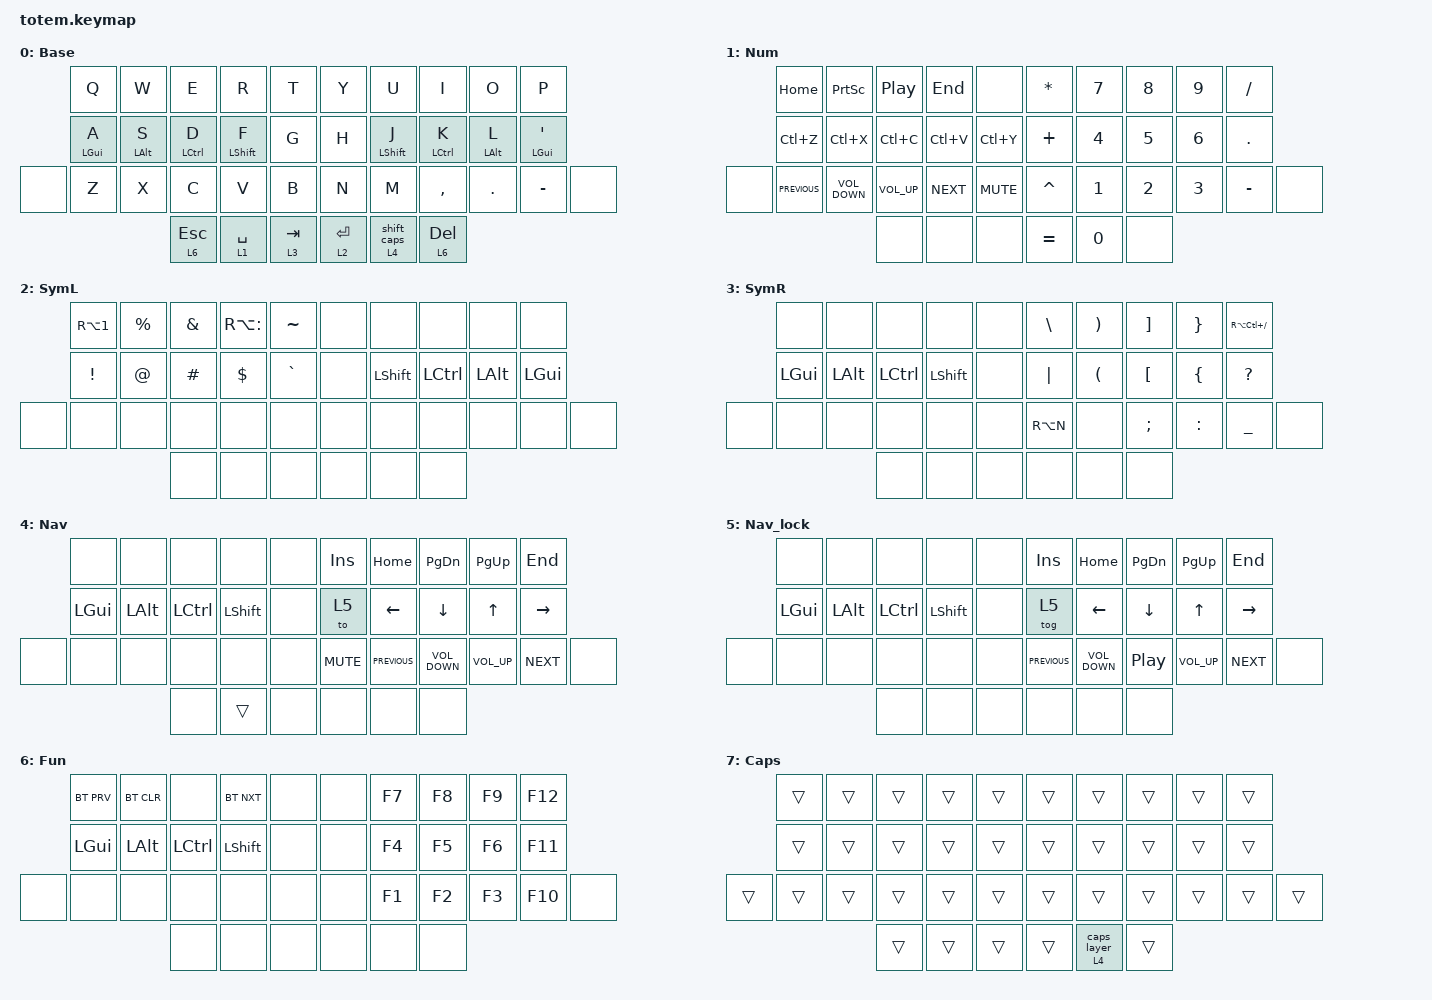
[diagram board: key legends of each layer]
//
//                                                        ▀▀▀▀▀     ▀▀▀▀▀          ▀▀█▀▀
//                                                        ▄▀▀▀▄  ▄  ▄▀▀▀▄  ▄  ▄▀▀▀▄  █  ▄▀▀▀▄
//                                                        █   █  █  █   █  █  █   █  █  █   █
//                                                         ▀▀▀   █   ▀▀▀   █   ▀▀▀   ▀   ▀▀▀
//                                                               █      ▄▄▄█▄▄▄    █   █  
//                                                               ▀      █  █  █     █▄█
//                                                             ▀▀▀▀▀    █  █  █      ▀
//                                                                      ▀  ▀  ▀
//
// ▄▄▄▄▄▄▄▄▄▄▄▄▄▄▄▄▄▄▄▄▄▄▄▄▄▄▄▄▄▄▄▄▄▄▄▄▄▄▄▄▄▄▄▄▄▄▄▄▄▄▄▄▄▄▄▄▄▄▄▄▄▄▄▄▄▄▄▄▄▄▄▄▄▄▄▄▄▄▄▄▄▄▄▄▄▄▄▄▄▄▄▄▄▄▄▄▄▄▄▄▄▄▄▄▄▄▄▄▄▄▄▄▄▄▄▄▄▄▄▄▄▄▄▄▄▄▄▄▄▄▄▄▄▄▄▄▄▄▄▄▄▄▄▄▄▄▄▄▄

#include <behaviors.dtsi>
#include <dt-bindings/zmk/bt.h>
#include <dt-bindings/zmk/keys.h>

#define Base        0
#define Num         1
#define SymL        2
#define SymR        3
#define Nav         4
#define Fun         5
#define SAI         6

&sk { quick-release; };

&lt {
    quick-tap-ms = <100>;
    tapping-term-ms = <170>;
};

&mt {
    hold-while-undecided;
    tapping-term-ms = <170>;
    flavor = "tap-preferred";
    quick-tap-ms = <100>;
};

/ {
    behaviors {
        shift_repeat: shift_repeat {
            compatible = "zmk,behavior-adaptive-key";
            #binding-cells = <0>;
            bindings = <&sk LSHFT>;

            repeat {
                trigger-keys = <A B C D E F G H I J K L M N O P Q R S T U V W X Y Z>;
                bindings = <&key_repeat>;
                max-prior-idle-ms = <350>;
            };

            label = "SHIFT_REPEAT";
        };

        hml: homerow_mods_left {
            compatible = "zmk,behavior-hold-tap";
            label = "HOMEROW_MODS_LEFT";
            #binding-cells = <2>;
            flavor = "balanced";
            tapping-term-ms = <280>;
            bindings = <&kp>, <&kp>;

            quick-tap-ms = <100>;
            require-prior-idle-ms = <135>;
            hold-trigger-on-release;
            hold-trigger-key-positions = <5 15 26 27 16 6 7 17 28 8 18 29 9 19 30 31 35 36 37 32 33 34>;
        };

        hmr: homerow_mods_right {
            compatible = "zmk,behavior-hold-tap";
            label = "HOMEROW_MODS_RIGHT";
            #binding-cells = <2>;
            flavor = "balanced";
            tapping-term-ms = <280>;
            bindings = <&kp>, <&kp>;

            quick-tap-ms = <100>;
            require-prior-idle-ms = <135>;
            hold-trigger-on-release;
            hold-trigger-key-positions = <0 1 2 3 4 10 11 12 13 14 21 22 23 24 25 32 33 20 34 35 36 37>;
        };

        hml_und: homerow_mods_left_undecided {
            compatible = "zmk,behavior-hold-tap";
            label = "HOMEROW_MODS_LEFT_UNDECIDED";
            #binding-cells = <2>;
            flavor = "balanced";
            tapping-term-ms = <280>;
            bindings = <&kp>, <&kp>;

            quick-tap-ms = <100>;
            require-prior-idle-ms = <135>;
            hold-trigger-on-release;
            hold-trigger-key-positions = <5 15 26 27 16 6 7 17 28 8 18 29 9 19 30 31 35 36 37 32 33 34>;
            hold-while-undecided;
        };

        magic_shift: magic_shift {
            compatible = "zmk,behavior-hold-tap";
            label = "MAGIC_SHIFT";
            bindings = <&mo>, <&shift_caps>;

            #binding-cells = <2>;
            flavor = "balanced";
            tapping-term-ms = <200>;
            quick-tap-ms = <175>;
        };

        shift_caps: shift_caps {
            compatible = "zmk,behavior-mod-morph";
            label = "SHIFT_CAPS";
            bindings = <&shift_repeat>, <&caps_layer>;

            #binding-cells = <0>;
            mods = <(MOD_LSFT)>;
        };

        capson_magic: capson_magic {
            compatible = "zmk,behavior-hold-tap";
            label = "CAPSON_MAGIC";
            bindings = <&mo>, <&caps_layer>;

            #binding-cells = <2>;
            flavor = "balanced";
            tapping-term-ms = <200>;
            quick-tap-ms = <175>;
        };
    };

    combos {
        compatible = "zmk,combos";

        combo_back {
            bindings = <&kp BACKSPACE>;
            key-positions = <16 17>;
        };

        combo_del_r {
            bindings = <&kp DELETE>;
            key-positions = <18 19>;
        };

        combo_esc {
            bindings = <&kp ESCAPE>;
            key-positions = <10 11>;
        };

        combo_del_l {
            bindings = <&kp DELETE>;
            key-positions = <12 13>;
        };
    };

    macros {
        space_num: space_num {
            compatible = "zmk,behavior-macro";
            #binding-cells = <0>;
            bindings =
                <&macro_press>,
                <&mo 1 &kp SPACE>,
                <&macro_pause_for_release>,
                <&macro_release>,
                <&mo 1 &kp SPACE>;

            label = "SPACE_NUM";
        };

        caps_layer: caps_layer {
            compatible = "zmk,behavior-macro";
            #binding-cells = <0>;
            bindings =
                <&macro_press>,
                <&tog 7 &kp CAPSLOCK>,
                <&macro_release>,
                <&tog 7 &kp CAPSLOCK>;

            label = "CAPS_LAYER";
        };
    };

    keymap {
        compatible = "zmk,keymap";

        Base {
            label = "Base";
            bindings = <
       &kp Q            &kp W            &kp E                    &kp R                  &kp T        &kp Y         &kp U              &kp I                &kp O            &kp P
       &hml LEFT_GUI A  &hml LEFT_ALT S  &hml_und LEFT_CONTROL D  &hml_und LEFT_SHIFT F  &kp G        &kp H         &hmr LEFT_SHIFT J  &hmr LEFT_CONTROL K  &hmr LEFT_ALT L  &hmr LEFT_GUI SINGLE_QUOTE
&none  &kp Z            &kp X            &kp C                    &kp V                  &kp B        &kp N         &kp M              &kp COMMA            &kp PERIOD       &kp MINUS                   &none
                                         &lt 6 ESCAPE             &lt 1 SPACE            &lt 3 TAB    &lt 2 RETURN  &magic_shift 4 0   &lt 6 DELETE
            >;
        };

        Num {
            bindings = <
       &kp HOME        &kp PRINTSCREEN    &kp C_PLAY_PAUSE  &kp END     &none         &kp ASTERISK  &kp N7  &kp N8  &kp N9  &kp SLASH
       &kp LC(Z)       &kp LC(X)          &kp LC(C)         &kp LC(V)   &kp LC(Y)     &kp PLUS      &kp N4  &kp N5  &kp N6  &kp DOT
&none  &kp C_PREVIOUS  &kp C_VOLUME_DOWN  &kp C_VOLUME_UP   &kp C_NEXT  &kp C_MUTE    &kp CARET     &kp N1  &kp N2  &kp N3  &kp MINUS  &none
                                          &none             &none       &none         &kp EQUAL     &kp N0  &none
            >;

            label = "Num";
        };

        SymL {
            bindings = <
       &kp RA(NUMBER_1)  &kp PERCENT  &kp AMPERSAND  &kp RA(COLON)  &kp TILDE    &none  &none      &none      &none         &none
       &kp EXCLAMATION   &kp AT       &kp HASH       &kp DOLLAR     &kp GRAVE    &none  &kp LSHFT  &kp LCTRL  &kp LEFT_ALT  &kp LGUI
&none  &none             &none        &none          &none          &none        &none  &none      &none      &none         &none     &none
                                      &none          &none          &none        &none  &none      &none
            >;

            label = "SymL";
        };

        SymR {
            bindings = <
       &none     &none         &none      &none      &none    &kp BACKSLASH  &kp RIGHT_PARENTHESIS  &kp RIGHT_BRACKET  &kp RIGHT_BRACE  &kp RA(LC(SLASH))
       &kp LGUI  &kp LEFT_ALT  &kp LCTRL  &kp LSHFT  &none    &kp PIPE       &kp LEFT_PARENTHESIS   &kp LEFT_BRACKET   &kp LEFT_BRACE   &kp QUESTION
&none  &none     &none         &none      &none      &none    &kp RA(N)      &none                  &kp SEMICOLON      &kp COLON        &kp UNDER          &none
                               &none      &none      &none    &none          &none                  &none
            >;

            label = "SymR";
        };

        Nav {
            bindings = <
       &none     &none     &none      &none      &none    &kp INSERT  &kp HOME        &kp PAGE_DOWN      &kp PAGE_UP      &kp END
       &kp LGUI  &kp LALT  &kp LCTRL  &kp LSHFT  &none    &to 5       &kp LEFT_ARROW  &kp DOWN           &kp UP_ARROW     &kp RIGHT_ARROW
&none  &none     &none     &none      &none      &none    &kp C_MUTE  &kp C_PREVIOUS  &kp C_VOLUME_DOWN  &kp C_VOLUME_UP  &kp C_NEXT       &none
                           &none      &trans     &none    &none       &none           &none
            >;

            label = "Nav";
        };

        Nav_lock {
            label = "Nav_lock";
            bindings = <
       &none     &none     &none      &none      &none    &kp INSERT      &kp HOME           &kp PAGE_DOWN     &kp PAGE_UP      &kp END
       &kp LGUI  &kp LALT  &kp LCTRL  &kp LSHFT  &none    &tog 5          &kp LEFT_ARROW     &kp DOWN          &kp UP_ARROW     &kp RIGHT_ARROW
&none  &none     &none     &none      &none      &none    &kp C_PREVIOUS  &kp C_VOLUME_DOWN  &kp C_PLAY_PAUSE  &kp C_VOLUME_UP  &kp C_NEXT       &none
                           &none      &none      &none    &none           &none              &none
            >;
        };

        Fun {
            bindings = <
       &bt BT_PRV  &bt BT_CLR  &none      &bt BT_NXT  &none    &none  &kp F7  &kp F8  &kp F9  &kp F12
       &kp LGUI    &kp LALT    &kp LCTRL  &kp LSHFT   &none    &none  &kp F4  &kp F5  &kp F6  &kp F11
&none  &none       &none       &none      &none       &none    &none  &kp F1  &kp F2  &kp F3  &kp F10  &none
                               &none      &none       &none    &none  &none   &none
            >;

            label = "Fun";
        };

        Caps {
            bindings = <
        &trans  &trans  &trans  &trans  &trans    &trans  &trans             &trans  &trans  &trans
        &trans  &trans  &trans  &trans  &trans    &trans  &trans             &trans  &trans  &trans
&trans  &trans  &trans  &trans  &trans  &trans    &trans  &trans             &trans  &trans  &trans  &trans
                        &trans  &trans  &trans    &trans  &capson_magic 4 0  &trans
            >;

            label = "Caps";
        };
    };

    conditional_layers {
        compatible = "zmk,conditional-layers";

        num_nav {
            if-layers = <1 4>;
            then-layer = <6>;
        };
    };
};
